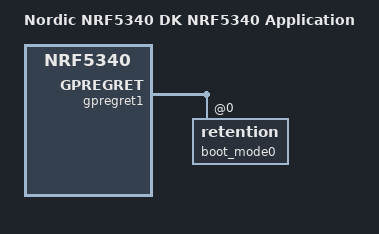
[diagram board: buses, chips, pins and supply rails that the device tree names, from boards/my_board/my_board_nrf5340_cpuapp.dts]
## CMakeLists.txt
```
cmake_minimum_required(VERSION 3.20.0)

list(APPEND BOARD_ROOT ${CMAKE_CURRENT_SOURCE_DIR})
list(APPEND DTS_ROOT ${CMAKE_CURRENT_SOURCE_DIR})

find_package(Zephyr REQUIRED)
project(my_zephyr_app)

add_subdirectory(drivers)

target_sources(app PRIVATE src/main.cpp)
add_subdirectory(drivers/our_driver)
```

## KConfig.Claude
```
# LED Subsystem top-level menu (the [*] means bool, default y)
config LED_SUBSYSTEM
    bool "LED Subsystem"
    default y

if LED_SUBSYSTEM

# Blink sleep time — choice menu (the "--->" indicates a choice block)
choice LED_BLINK_SLEEP
    prompt "LED blink sleep time"
    default LED_BLINK_SLEEP_MEDIUM

config LED_BLINK_SLEEP_SLOW
    bool "2s (slow)"

config LED_BLINK_SLEEP_MEDIUM
    bool "1s (medium)"

config LED_BLINK_SLEEP_FAST
    bool "500ms (fast)"

endchoice

# Advanced LED settings submenu
menuconfig LED_ADVANCED
    bool "Advanced LED settings"
    default n

if LED_ADVANCED

config LED_BRIGHTNESS
    int "LED brightness (0-100)"
    default 100
    range 0 100

config LED_FADE_DURATION
    int "LED fade duration (ms)"
    default 500
    range 0 10000

# Expert settings submenu (nested inside Advanced)
menu "Expert settings"

config LED_DEBUG
    bool "Enable LED debugging"
    default n

config LED_CUSTOM_BLINK_PATTERN
    bool "Custom blink pattern"
    default n

endmenu  # Expert settings

endif  # LED_ADVANCED

endif  # LED_SUBSYSTEM
```

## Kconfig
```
mainmenu "Blinky Heartbeat Configuration"

config APP_HEARTBEAT_PERIOD_MS
    int "Heartbeat LED period (ms)"
    default 500
    range 100 2000
    help
      Blink half-period in milliseconds — the LED stays on for this
      duration, then off for the same duration.
      Range: 100 ms (fast) to 2000 ms (slow).


# ============================================================
# LED Subsystem
# ============================================================
menuconfig LED_SUBSYSTEM
    bool "LED Subsystem"
    default y
    help
      Enable the LED subsystem. When disabled, all LED-related
      symbols are hidden and excluded from the build.

if LED_SUBSYSTEM

# ------------------------------------------------------------
# Blink sleep time
# ------------------------------------------------------------
choice LED_BLINK_SLEEP
    prompt "LED blink sleep time"
    default LED_BLINK_SLEEP_1000

config LED_BLINK_SLEEP_250
    bool "250ms (fast)"

config LED_BLINK_SLEEP_500
    bool "500ms (medium-fast)"

config LED_BLINK_SLEEP_1000
    bool "1s (medium)"

config LED_BLINK_SLEEP_2000
    bool "2s (slow)"

endchoice

# Hidden int — resolved at build time from the choice selection.
# Use CONFIG_LED_BLINK_SLEEP_MS directly in C / DTS overlays.
config LED_BLINK_SLEEP_MS
    int
    default 250  if LED_BLINK_SLEEP_250
    default 500  if LED_BLINK_SLEEP_500
    default 1000 if LED_BLINK_SLEEP_1000
    default 2000 if LED_BLINK_SLEEP_2000

# ------------------------------------------------------------
# Advanced LED settings
# ------------------------------------------------------------
menuconfig LED_ADVANCED
    bool "Advanced LED settings"
    default n
    help
      Expose advanced LED tuning parameters.
      Disable to keep the build configuration minimal.

if LED_ADVANCED

config LED_BRIGHTNESS
    int "LED brightness (0-100)"
    default 100
    range 0 100
    help
      Static brightness level applied to all LEDs.
      0 = off, 100 = full brightness.

config LED_FADE_DURATION
    int "LED fade duration (ms)"
    default 500
    range 0 5000
    help
      Duration of the fade-in / fade-out transition.
      Set to 0 to disable fading entirely.

# ------------------------------------------------------------
# Expert settings  (visible only when Advanced is enabled —
# uses 'visible if' so symbols still exist but the submenu
# is hidden when the condition is false)
# ------------------------------------------------------------
menu "Expert settings"
    visible if LED_ADVANCED

config LED_DEBUG
    bool "Enable LED debugging"
    default n
    depends on LED_ADVANCED
    help
      Emit debug-level log messages from the LED driver.
      Requires CONFIG_LOG=y to have any effect.

config LED_CUSTOM_BLINK_PATTERN
    bool "Custom blink pattern"
    default n
    depends on LED_ADVANCED
    help
      Replace the built-in blink pattern with a user-defined
      sequence configured at runtime.

endmenu  # Expert settings

endif  # LED_ADVANCED

endif  # LED_SUBSYSTEM

config BOARD_OUR_BOARD
select BOARD_NRF5340DK_NRF5340_CPUAPP if BOARD_OUR_BOARD
    bool "Our custom board"
    help
      Enable support for our custom board. This will pull in the
      necessary drivers and configurations to run Zephyr on it.

#rsource "drivers/Kconfig"

source "Kconfig.zephyr"
rsource "drivers/our_driver/Kconfig"
```

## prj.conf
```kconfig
CONFIG_GPIO=y
CONFIG_LOG=y
CONFIG_OUR_DRIVER=y

#CONFIG_SHELL=y

#CONFIG_PARTITION_MANAGER=y
#CONFIG_BLINK_SLEEP_TIME_MS=250
```

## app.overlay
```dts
/ {

    aliases {
        app-led = &led0;
    };
        our_driver0: our_driver {
        compatible = "our,driver";
        gpios = <&gpio0 28 GPIO_ACTIVE_LOW>;
        status = "okay";
    };
        our_driver1: our_driver1 {
        compatible = "our,driver";
        gpios = <&gpio0 29 GPIO_ACTIVE_LOW>;
        status = "okay";
    };

};
```

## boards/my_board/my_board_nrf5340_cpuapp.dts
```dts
/*
 * Copyright (c) 2020-2025 Nordic Semiconductor ASA
 *
 * SPDX-License-Identifier: Apache-2.0
 */

/dts-v1/;
#include <nordic/nrf5340_cpuapp_qkaa.dtsi>
#include "nrf5340_cpuapp_common.dtsi"

/ {
	model = "Nordic NRF5340 DK NRF5340 Application";
	compatible = "nordic,my-board";

	chosen {
		zephyr,sram = &sram0_image;
		zephyr,flash = &flash0;
		zephyr,code-partition = &slot0_partition;
		zephyr,sram-secure-partition = &sram0_s;
		zephyr,sram-non-secure-partition = &sram0_ns;
		zephyr,boot-mode = &boot_mode0;
	};
};

&gpregret1 {
	status = "okay";

	boot_mode0: boot_mode@0 {
		compatible = "zephyr,retention";
		status = "okay";
		reg = <0x0 0x1>;
	};
};

/* Include default memory partition configuration file */
#include <nordic/nrf5340_cpuapp_partition.dtsi>
```

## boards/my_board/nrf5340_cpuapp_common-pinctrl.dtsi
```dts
/*
 * Copyright (c) 2022 Nordic Semiconductor
 * SPDX-License-Identifier: Apache-2.0
 */

&pinctrl {

	uart0_default: uart0_default {
		group1 {
			psels = <NRF_PSEL(UART_TX, 0, 20)>,
				<NRF_PSEL(UART_RTS, 0, 19)>;
		};

		group2 {
			psels = <NRF_PSEL(UART_RX, 0, 22)>,
				<NRF_PSEL(UART_CTS, 0, 21)>;
			bias-pull-up;
		};
	};

	uart0_sleep: uart0_sleep {
		group1 {
			psels = <NRF_PSEL(UART_RX, 0, 22)>,
				<NRF_PSEL(UART_RTS, 0, 19)>,
				<NRF_PSEL(UART_CTS, 0, 21)>;
			low-power-enable;
		};

		group2 {
			psels = <NRF_PSEL(UART_TX, 0, 20)>;
			low-power-enable;
			bias-pull-up;
		};
	};

	qspi_default: qspi_default {
		group1 {
			psels = <NRF_PSEL(QSPI_SCK, 0, 17)>,
				<NRF_PSEL(QSPI_IO0, 0, 13)>,
				<NRF_PSEL(QSPI_IO1, 0, 14)>,
				<NRF_PSEL(QSPI_IO2, 0, 15)>,
				<NRF_PSEL(QSPI_IO3, 0, 16)>,
				<NRF_PSEL(QSPI_CSN, 0, 18)>;
			nordic,drive-mode = <NRF_DRIVE_H0H1>;
		};
	};

	qspi_sleep: qspi_sleep {
		group1 {
			psels = <NRF_PSEL(QSPI_SCK, 0, 17)>,
				<NRF_PSEL(QSPI_IO0, 0, 13)>,
				<NRF_PSEL(QSPI_IO1, 0, 14)>,
				<NRF_PSEL(QSPI_IO2, 0, 15)>,
				<NRF_PSEL(QSPI_IO3, 0, 16)>;
			low-power-enable;
		};

		group2 {
			psels = <NRF_PSEL(QSPI_CSN, 0, 18)>;
			low-power-enable;
			bias-pull-up;
		};
	};

	uart1_default: uart1_default {
		group1 {
			psels = <NRF_PSEL(UART_TX, 1, 1)>,
				<NRF_PSEL(UART_RTS, 0, 11)>;
		};

		group2 {
			psels = <NRF_PSEL(UART_RX, 1, 0)>,
				<NRF_PSEL(UART_CTS, 0, 10)>;
			bias-pull-up;
		};
	};

	uart1_sleep: uart1_sleep {
		group1 {
			psels = <NRF_PSEL(UART_TX, 1, 1)>,
				<NRF_PSEL(UART_RX, 1, 0)>,
				<NRF_PSEL(UART_RTS, 0, 11)>,
				<NRF_PSEL(UART_CTS, 0, 10)>;
			low-power-enable;
		};
	};

};
```

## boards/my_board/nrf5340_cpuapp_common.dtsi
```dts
/*
 * Copyright (c) 2019-2020 Nordic Semiconductor ASA
 *
 * SPDX-License-Identifier: Apache-2.0
 */
#include "nrf5340dk_common.dtsi"
#include "nrf5340_cpuapp_common-pinctrl.dtsi"
#include <zephyr/dt-bindings/input/input-event-codes.h>

/ {
	chosen {
		zephyr,console = &uart0;
		zephyr,shell-uart = &uart0;
		zephyr,uart-mcumgr = &uart0;
	};

	gpio_fwd: nrf-gpio-forwarder {
		compatible = "nordic,nrf-gpio-forwarder";
		status = "okay";

		uart {
			gpios = <&gpio1 1 0>, <&gpio1 0 0>, <&gpio0 11 0>, <&gpio0 10 0>;
		};
	};
};

&vregmain {
	regulator-initial-mode = <NRF5X_REG_MODE_DCDC>;
};

&vregradio {
	regulator-initial-mode = <NRF5X_REG_MODE_DCDC>;
};

&vregh {
	status = "okay";
};

&lfxo {
	load-capacitors = "internal";
	load-capacitance-picofarad = <7>;
};


&nfct {
	status = "okay";
};

&gpiote {
	status = "okay";
};

&gpio0 {
	status = "okay";
};

&gpio1 {
	status = "okay";
};


&uart0 {
	status = "okay";
	current-speed = <115200>;
	pinctrl-0 = <&uart0_default>;
	pinctrl-1 = <&uart0_sleep>;
	pinctrl-names = "default", "sleep";
};



&qspi {
	status = "okay";
	pinctrl-0 = <&qspi_default>;
	pinctrl-1 = <&qspi_sleep>;
	pinctrl-names = "default", "sleep";

	mx25r64: mx25r6435f@0 {
		compatible = "nordic,qspi-nor";
		reg = <0>;
		/* MX25R64 supports only pp and pp4io */
		writeoc = "pp4io";
		/* MX25R64 supports all readoc options */
		readoc = "read4io";
		sck-frequency = <8000000>;
		jedec-id = [c2 28 17];
		sfdp-bfp = [e5 20 f1 ff ff ff ff 03 44 eb 08 6b 08 3b 04 bb
			    ee ff ff ff ff ff 00 ff ff ff 00 ff 0c 20 0f 52
			    10 d8 00 ff 23 72 f5 00 82 ed 04 cc 44 83 68 44
			    30 b0 30 b0 f7 c4 d5 5c 00 be 29 ff f0 d0 ff ff];
		size = <67108864>;
		has-dpd;
		t-enter-dpd = <10000>;
		t-exit-dpd = <35000>;
	};
};
```

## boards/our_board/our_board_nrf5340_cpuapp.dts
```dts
/*
 * Copyright (c) 2020-2025 Nordic Semiconductor ASA
 *
 * SPDX-License-Identifier: Apache-2.0
 */

/dts-v1/;
#include <nordic/nrf5340_cpuapp_qkaa.dtsi>
#include "nrf5340_cpuapp_common.dtsi"

/ {
	model = "Nordic NRF5340 DK NRF5340 Application";
	compatible = "nordic,our-board";

	chosen {
		zephyr,sram = &sram0_image;
		zephyr,flash = &flash0;
		zephyr,code-partition = &slot0_partition;
		zephyr,sram-secure-partition = &sram0_s;
		zephyr,sram-non-secure-partition = &sram0_ns;
		zephyr,boot-mode = &boot_mode0;
	};
};

&gpregret1 {
	status = "okay";

	boot_mode0: boot_mode@0 {
		compatible = "zephyr,retention";
		status = "okay";
		reg = <0x0 0x1>;
	};
};

/* Include default memory partition configuration file */
#include <nordic/nrf5340_cpuapp_partition.dtsi>
```

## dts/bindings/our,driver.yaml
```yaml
description: LED exposed as a sensor device (lecture driver)

compatible: "our,driver"

include: base.yaml

properties:
  gpios:
    type: phandle-array
    required: true
    description: GPIO pin connected to the on-board LED.
```

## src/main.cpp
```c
#include <zephyr/drivers/sensor.h>
#include <zephyr/drivers/gpio.h>
#include <zephyr/kernel.h>
#include <zephyr/logging/log.h>

#include "/Users/bytelight/zephyr-course/app/drivers/our_driver/our_driver.h"

extern const __attribute__((__aligned__(__alignof(
    struct log_source_const_data)))) struct log_source_const_data log_const_main
    __attribute__((section("."
                           "_log_const"
                           "."
                           "static"
                           "."
                           "log_const_main_")))
    __attribute__((__used__)) = {.name = "main", .level = (3)};
extern const struct log_source_const_data log_const_main;
extern struct log_source_dynamic_data log_dynamic_main;
static const struct log_source_const_data *__log_current_const_data
    __attribute__((__unused__)) = 1 ? &log_const_main : __null;
static struct log_source_dynamic_data *__log_current_dynamic_data
    __attribute__((__unused__)) = (1 && 0) ? &log_dynamic_main : __null;
static const uint32_t __log_level __attribute__((__unused__)) = 3;

#define SLEEP_TIME_MS 1000

/* The devicetree node identifier for the "led0" alias. */
#define LED_NODE DT_ALIAS(led0)

//static const struct gpio_dt_spec led = GPIO_DT_SPEC_GET(LED_NODE, gpios);
static const struct gpio_dt_spec led = GPIO_DT_SPEC_GET(LED_NODE, gpios);

const struct device *driver = DEVICE_DT_GET(DT_NODELABEL(our_driver0));
struct sensor_value val;

namespace {
	void test() {
		const struct device* driver = DEVICE_DT_GET(DT_NODELABEL(our_driver0));
		struct sensor_value val;
		auto ret = sensor_channel_get(driver, SENSOR_CHAN_AMBIENT_TEMP, &val);
		LOG_INF("Channel ret %d", ret);
	}
}

int main(void)
{
	test();
    bool led_state = true;

    if (!gpio_is_ready_dt(&led)) return 0;

    if (gpio_pin_configure_dt(&led, GPIO_OUTPUT_ACTIVE) < 0) return 0;

	int ret;

	if (!gpio_is_ready_dt(&led)) {
			printk("Error: LED GPIO device not ready\n");
			return -ENODEV;
	}

	ret = gpio_pin_configure_dt(&led, GPIO_OUTPUT_INACTIVE);
	if (ret < 0) {
			printk("Error %d: failed to configure LED GPIO\n", ret);
			return ret;
	}

	printk("Heartbeat LED started — period: %d ms\n",
			CONFIG_APP_HEARTBEAT_PERIOD_MS);

	// --- Custom extension API call: change blink_interval_ms in the data struct ---
	our_driver_set_blink_interval_ms(driver, 250);

	while (1) {
		// Turns LED ON
		sensor_sample_fetch(driver);
		k_msleep(1000);
		// Turns LED OFF
		sensor_channel_get(driver, SENSOR_CHAN_AMBIENT_TEMP, &val);
		k_msleep(1000);
	}

	return 0;
}
```
